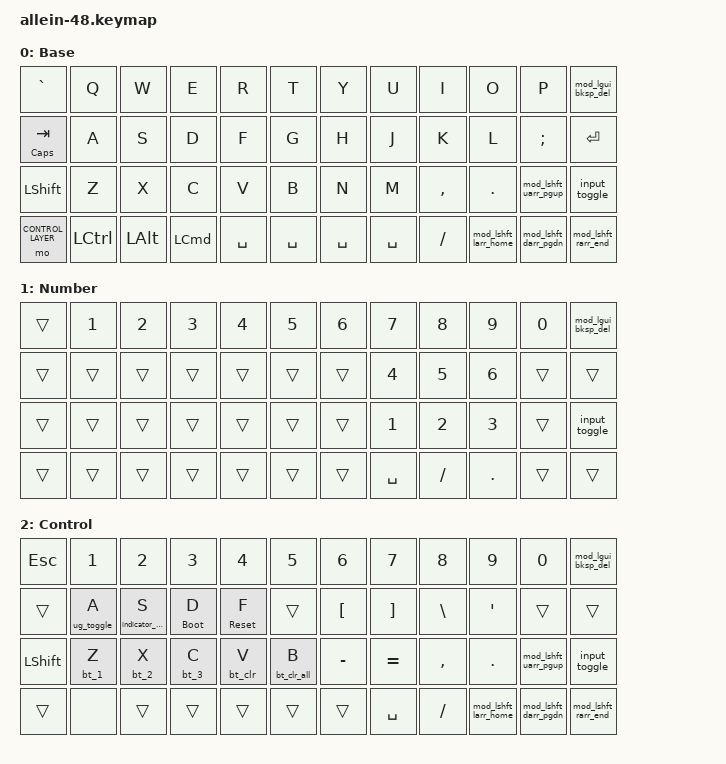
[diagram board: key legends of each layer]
/*
 * Copyright (c) 2020 The ZMK Contributors
 *
 * SPDX-License-Identifier: MIT
 */

 #include <behaviors.dtsi>
 #include <dt-bindings/zmk/keys.h>
 #include <dt-bindings/zmk/bt.h> 
 #include <dt-bindings/zmk/rgb.h>
 #include <dt-bindings/zmk/indicator.h>
#define BASE 0
#define LOWER 1
#define RAISE 2
#define DEFAULT_LAYER 0
#define NUM_LAYER 1
#define CONTROL_LAYER 2
#define MOUSE_TP 3
#define MOUSE_TP_SET 4

/*
 * Defines to enable/disable features
 *
 * These defines allow us to conditionally enable and disable parts of the keymap config.
 *
 * For example, if we decide to build the firmware without the mouse features, we can
 * disable all the config options that rely on those forks and modules without having
 * to edit the entire keymap file manually every time.
 */


 / {
       macros {
              input_toggle: input_toggle {
                  compatible = "zmk,behavior-macro";
                  #binding-cells = <0>;
                  bindings
                      =  <&macro_press &kp LEFT_CONTROL>
                      , <&macro_tap &kp SPACE>
                      , <&macro_release &kp LEFT_CONTROL>
                      ;
                      
              };
               bt_1: bt_sel_1 {
                   compatible = "zmk,behavior-macro";
                   #binding-cells = <0>;
                   bindings
                       = < &bt BT_SEL 0>
                       ;
               };
               bt_2: bt_sel_2 {
                   compatible = "zmk,behavior-macro";
                   #binding-cells = <0>;
                   bindings
                       = < &bt BT_SEL 1>
                       ;
               };
               bt_3: bt_sel_3 {
                   compatible = "zmk,behavior-macro";
                   #binding-cells = <0>;
                   bindings
                       = < &bt BT_SEL 2>
                       ;
               };
               bt_loop: bt_loop {
                   compatible = "zmk,behavior-macro";
                   #binding-cells = <0>;
                   bindings
                       = < &bt BT_NXT>
                       ;
               };
               bt_clr: bt_clr {
                   compatible = "zmk,behavior-macro";
                   #binding-cells = <0>;
                   bindings
                       = < &bt BT_CLR>
                       ;
               };
               bt_clr_all: bt_clr_all {
                   compatible = "zmk,behavior-macro";
                   #binding-cells = <0>;
                   bindings
                       = < &bt BT_CLR_ALL>
                       ;
               };
               ug_toggle: ug_toggle {
                   compatible = "zmk,behavior-macro";
                   #binding-cells = <0>;
                   bindings
                       = < &rgb_ug RGB_TOG>
                       ;
               };
               indicator_toggle: indicator_toggle {
                   compatible = "zmk,behavior-macro";
                   #binding-cells = <0>;
                   bindings
                       = < &rgb_ind RGB_IND_TOGGLE>
                       ;
               };
               mo_num: mo_num {
                  compatible = "zmk,behavior-macro";
                  #binding-cells = <0>;
                  bindings
                      = < &mo NUM_LAYER>
                      ;
              };
               to_num: to_num {
                   compatible = "zmk,behavior-macro";
                   #binding-cells = <0>;
                   bindings
                       = < &to NUM_LAYER>
                       ;
               };
               to_default: to_default {
                   compatible = "zmk,behavior-macro";
                   #binding-cells = <0>;
                   bindings
                       = < &to DEFAULT_LAYER>
                       ;
               };
               key_D: key_D {
                  compatible = "zmk,behavior-macro";
                  #binding-cells = <0>;
                  bindings
                      = < &kp D>
                      ;
              };
              key_F: key_F {
                compatible = "zmk,behavior-macro";
                #binding-cells = <0>;
                bindings
                    = < &kp F>
                    ;
            };
              key_A: key_A {
                  compatible = "zmk,behavior-macro";
                  #binding-cells = <0>;
                  bindings
                      = < &kp A>
                      ;
              };
              key_S: key_S {
                  compatible = "zmk,behavior-macro";
                  #binding-cells = <0>;
                  bindings
                      = < &kp S>
                      ;
              };
              key_Z: key_Z{
                  compatible = "zmk,behavior-macro";
                  #binding-cells = <0>;
                  bindings
                      = < &kp Z>
                      ;
              };
              key_X: key_X {
                  compatible = "zmk,behavior-macro";
                  #binding-cells = <0>;
                  bindings
                      = < &kp X>
                      ;
              };
              key_C: key_C {
                  compatible = "zmk,behavior-macro";
                  #binding-cells = <0>;
                  bindings
                      = < &kp C>
                      ;
              };
              key_V: key_V {
                  compatible = "zmk,behavior-macro";
                  #binding-cells = <0>;
                  bindings
                      = < &kp V>
                      ;
              };
              key_B: key_B {
                  compatible = "zmk,behavior-macro";
                  #binding-cells = <0>;
                  bindings
                      = < &kp B>
                      ;
              };
              key_N: key_N {
                  compatible = "zmk,behavior-macro";
                  #binding-cells = <0>;
                  bindings
                      = < &kp N>
                      ;
              };
           };
           behaviors {
               ht: hold_tap {
                   compatible = "zmk,behavior-hold-tap";
                   #binding-cells = <2>;
                   tapping-term-ms = <200>;
                   flavor = "tap-preferred";
                   bindings = <&kp>, <&kp>;
               };
               hht: hold_preferred_tap {
                  compatible = "zmk,behavior-hold-tap";
                  #binding-cells = <2>;
                  tapping-term-ms = <2000>;
                  flavor = "hold-preferred";
                  bindings = <&kp>, <&kp>;
              };
               hht_num: hht_num {
                   compatible = "zmk,behavior-hold-tap";
                   #binding-cells = <2>;
                   tapping-term-ms = <2000>;
                   flavor = "hold-preferred";
                   bindings = <&mo_num>, <&kp>;
               };
               hht_input: hht_shift_input {
                  compatible = "zmk,behavior-hold-tap";
                  #binding-cells = <2>;
                  tapping-term-ms = <2000>;
                  flavor = "hold-preferred";
                  bindings = <&kp>, <&input_toggle>;
              };
               ht_default: ht_default {
                   compatible = "zmk,behavior-hold-tap";
                   #binding-cells = <2>;
                   tapping-term-ms = <200>;
                   flavor = "tap-preferred";
                   bindings = <&to_default>, <&kp>;
               };
       
               ht_bt1: hold_tap_macro_bt1 {
                   compatible = "zmk,behavior-hold-tap";
                   #binding-cells = <2>;
                   tapping-term-ms = <2000>;
                   flavor = "tap-preferred";
                   bindings = <&bt_1>, <&key_Z>;
               };
               ht_bt2: hold_tap_macro_bt2 {
                   compatible = "zmk,behavior-hold-tap";
                   #binding-cells = <2>;
                   tapping-term-ms = <2000>;
                   flavor = "tap-preferred";
                   bindings = <&bt_2>, <&key_X>;
               };
               ht_bt3: hold_tap_macro_bt3 {
                   compatible = "zmk,behavior-hold-tap";
                   #binding-cells = <2>;
                   tapping-term-ms = <2000>;
                   flavor = "tap-preferred";
                   bindings = <&bt_3>, <&key_C>;
               };
               ht_bt_loop: hold_tap_macro_btloop {
                   compatible = "zmk,behavior-hold-tap";
                   #binding-cells = <2>;
                   tapping-term-ms = <2000>;
                   flavor = "tap-preferred";
                   bindings = <&bt_loop>, <&kp>;
               };
               ht_bt_clr: hold_tap_macro_bt_clr {
                   compatible = "zmk,behavior-hold-tap";
                   #binding-cells = <2>;
                   tapping-term-ms = <2000>;
                   flavor = "tap-preferred";
                   bindings = <&bt_clr>, <&key_V>;
               };
               ht_bt_clr_all: hold_tap_macro_bt_clr_all {
                   compatible = "zmk,behavior-hold-tap";
                   #binding-cells = <2>;
                   tapping-term-ms = <2000>;
                   flavor = "tap-preferred";
                   bindings = <&bt_clr_all>, <&key_B>;
               };
               ht_ug_tog: hold_tap_macro_ug_tog {
                   compatible = "zmk,behavior-hold-tap";
                   #binding-cells = <2>;
                   tapping-term-ms = <2000>;
                   flavor = "tap-preferred";
                   bindings = <&ug_toggle>, <&key_A>;
               };
               ht_ind_tog: hold_tap_macro_ind_tog {
                   compatible = "zmk,behavior-hold-tap";
                   #binding-cells = <2>;
                   tapping-term-ms = <200>;
                   flavor = "tap-preferred";
                   bindings = <&indicator_toggle>, <&key_S>;
               };
               ht_boot: ht_boot {
                  compatible = "zmk,behavior-hold-tap";
                  #binding-cells = <2>;
                  tapping-term-ms = <3000>;
                  flavor = "hold-preferred";
                  bindings = <&bootloader>, <&key_D>;
                };
               ht_reset: ht_reset {
                compatible = "zmk,behavior-hold-tap";
                #binding-cells = <2>;
                tapping-term-ms = <3000>;
                flavor = "hold-preferred";
                bindings = <&sys_reset>, <&key_F>;
                };
                mo_ctrl_or_tp: mo_ctrl_or_tp {
                    compatible = "zmk,behavior-mod-morph";
                    #binding-cells = <0>;
                    bindings = <&mo CONTROL_LAYER>, <&mo MOUSE_TP_SET>;
                   mods = <(MOD_LCTL)>;
                };
               semi_bracket: semi_bracket {
                   compatible = "zmk,behavior-mod-morph";
                   #binding-cells = <0>;
                   bindings = <&kp SEMI>, <&kp LEFT_BRACKET>;
                   mods = <(MOD_LCTL|MOD_LGUI)>;
               };
               quot_bracket: quot_bracket {
                   compatible = "zmk,behavior-mod-morph";
                   #binding-cells = <0>;
                   bindings = <&kp SINGLE_QUOTE>, <&kp RIGHT_BRACKET>;
                   mods = <(MOD_LCTL|MOD_LGUI)>;
               };
               td_spc_num: tap_dance_space_or_number_layer {
                  compatible = "zmk,behavior-tap-dance";
                  #binding-cells = <0>;
                  tapping-term-ms = <200>;
                  bindings = <&kp SPACE>, <&to NUM_LAYER>;
              };
              td_spc_dft: tap_dance_space_or_default_layer {
                  compatible = "zmk,behavior-tap-dance";
                  #binding-cells = <0>;
                  tapping-term-ms = <200>;
                  bindings = <&kp SPACE>, <&to DEFAULT_LAYER>;
              };
              td_rarr_end:td_rarr_end {
                  compatible = "zmk,behavior-tap-dance";
                  #binding-cells = <0>;
                  tapping-term-ms = <150>;
                  bindings = <&kp RIGHT_ARROW>, <&kp END>;
              };
              td_larr_home:td_larr_home {
                  compatible = "zmk,behavior-tap-dance";
                  #binding-cells = <0>;
                  tapping-term-ms = <150>;
                  bindings = <&kp LEFT_ARROW>, <&kp HOME>;
              };
              mod_rgui_Q_1: mod_rgui_Q_1 {
                  compatible = "zmk,behavior-mod-morph";
                  #binding-cells = <0>;
                  bindings = <&kp Q>, <&kp N1>;
                  mods = <(MOD_RGUI)>;
              };
              mod_rgui_W_2: mod_rgui_W_2 {
                  compatible = "zmk,behavior-mod-morph";
                  #binding-cells = <0>;
                  bindings = <&kp W>, <&kp N2>;
                  mods = <(MOD_RGUI)>;
              };
              mod_rgui_E_3: mod_rgui_E_3 {
                  compatible = "zmk,behavior-mod-morph";
                  #binding-cells = <0>;
                  bindings = <&kp E>, <&kp N3>;
                  mods = <(MOD_RGUI)>;
              };
              mod_rgui_R_4: mod_rgui_R_4 {
                  compatible = "zmk,behavior-mod-morph";
                  #binding-cells = <0>;
                  bindings = <&kp R>, <&kp N4>;
                  mods = <(MOD_RGUI)>;
              };   
              mod_rgui_T_5: mod_rgui_T_5 {
                  compatible = "zmk,behavior-mod-morph";
                  #binding-cells = <0>;
                  bindings = <&kp T>, <&kp N5>;
                  mods = <(MOD_RGUI)>;
              };  
              mod_rgui_Y_6: mod_rgui_Y_6 {
                  compatible = "zmk,behavior-mod-morph";
                  #binding-cells = <0>;
                  bindings = <&kp Y>, <&kp N6>;
                  mods = <(MOD_RGUI)>;
              }; 
              mod_rgui_U_7: mod_rgui_U_7 {
                  compatible = "zmk,behavior-mod-morph";
                  #binding-cells = <0>;
                  bindings = <&kp U>, <&kp N7>;
                  mods = <(MOD_RGUI)>;
              };    
              mod_rgui_I_8: mod_rgui_I_8 {
                  compatible = "zmk,behavior-mod-morph";
                  #binding-cells = <0>;
                  bindings = <&kp I>, <&kp N8>;
                  mods = <(MOD_RGUI)>;
              };   
              mod_rgui_O_9: mod_rgui_O_9 {
                  compatible = "zmk,behavior-mod-morph";
                  #binding-cells = <0>;
                  bindings = <&kp O>, <&kp N9>;
                  mods = <(MOD_RGUI)>;
              };   
              mod_rgui_P_0: mod_rgui_P_0 {
                  compatible = "zmk,behavior-mod-morph";
                  #binding-cells = <0>;
                  bindings = <&kp P>, <&kp N0>;
                  mods = <(MOD_RGUI)>;
              };   
              mod_rgui_M_1: mod_rgui_M_1 {
                  compatible = "zmk,behavior-mod-morph";
                  #binding-cells = <0>;
                  bindings = <&kp M>, <&kp N1>;
                  mods = <(MOD_RGUI)>;
              };
              mod_rgui_COMMA_2: mod_rgui_COMMA_2 {
                  compatible = "zmk,behavior-mod-morph";
                  #binding-cells = <0>;
                  bindings = <&kp COMMA>, <&kp N2>;
                  mods = <(MOD_RGUI)>;
              };
              mod_rgui_DOT_3: mod_rgui_DOT_3 {
                  compatible = "zmk,behavior-mod-morph";
                  #binding-cells = <0>;
                  bindings = <&kp DOT>, <&kp N3>;
                  mods = <(MOD_RGUI)>;
              };
              mod_rgui_J_4: mod_rgui_J_4 {
                  compatible = "zmk,behavior-mod-morph";
                  #binding-cells = <0>;
                  bindings = <&kp J>, <&kp N4>;
                  mods = <(MOD_RGUI)>;
              };   
              mod_rgui_K_5: mod_rgui_K_5 {
                  compatible = "zmk,behavior-mod-morph";
                  #binding-cells = <0>;
                  bindings = <&kp K>, <&kp N5>;
                  mods = <(MOD_RGUI)>;
              };  
              mod_rgui_L_6: mod_rgui_L_6 {
                  compatible = "zmk,behavior-mod-morph";
                  #binding-cells = <0>;
                  bindings = <&kp L>, <&kp N6>;
                  mods = <(MOD_RGUI)>;
              }; 
              mod_lshft_larr_home: mod_lshft_larr_home {
                  compatible = "zmk,behavior-mod-morph";
                  #binding-cells = <0>;
                  bindings = <&kp LEFT_ARROW>, <&kp HOME>;
                  mods = <(MOD_LSFT)>;
              };
              mod_lshft_rarr_end: mod_lshft_rarr_end {
                  compatible = "zmk,behavior-mod-morph";
                  #binding-cells = <0>;
                  bindings = <&kp RIGHT_ARROW>, <&kp END>;
                  mods = <(MOD_LSFT)>;
              }; 
              mod_lgui_bksp_del: mod_lshft_bksp_del {
                  compatible = "zmk,behavior-mod-morph";
                  #binding-cells = <0>;
                  bindings = <&kp BACKSPACE>, <&kp DEL>;
                  mods = <(MOD_LGUI)>;
              }; 
              mod_lshft_uarr_pgup: mod_lshft_uarr_pgup {
                  compatible = "zmk,behavior-mod-morph";
                  #binding-cells = <0>;
                  bindings = <&kp UP_ARROW>, <&kp PG_UP>;
                  mods = <(MOD_LSFT)>;
              };
              mod_lshft_darr_pgdn: mod_lshft_darr_pgdn {
                  compatible = "zmk,behavior-mod-morph";
                  #binding-cells = <0>;
                  bindings = <&kp DOWN_ARROW>, <&kp PG_DN>;
                  mods = <(MOD_LSFT)>;
              }; 
           };
         keymap {
                 compatible = "zmk,keymap";
                 default_layer {
                    display-name = "Base";
                    bindings = <
                    // ╭────────────────────────┬────────────────────────┬────────────────────────┬────────────────────────┬────────────────────────┬────────────────────────┬────────────────────────┬────────────────────────┬────────────────────────┬────────────────────────┬────────────────────────┬────────────────────────╮
                                &kp GRAV                   &kp Q                   &kp W                   &kp E                    &kp R                   &kp T                   &kp Y                   &kp U                   &kp I                   &kp O                     &kp P                   &mod_lgui_bksp_del    
                    // ├────────────────────────┼────────────────────────┼────────────────────────┼────────────────────────┼────────────────────────┼────────────────────────┼────────────────────────┼────────────────────────┼────────────────────────┼────────────────────────┼────────────────────────┼────────────────────────┤
                              &ht CAPS TAB                 &kp A                   &kp S                   &kp D                    &kp F                   &kp G                   &kp H                   &kp J                   &kp K                   &kp L                     &kp  SEMI                     &kp ENTER
                    // ├────────────────────────┼────────────────────────┼────────────────────────┼────────────────────────┼────────────────────────┼────────────────────────┼────────────────────────┼────────────────────────┼────────────────────────┼────────────────────────┼────────────────────────┼────────────────────────┤
                                &kp LSHFT                  &kp Z                   &kp X                   &kp C                    &kp V                   &kp B                   &kp N                   &kp M                   &kp COMMA               &kp DOT                  &mod_lshft_uarr_pgup         &input_toggle
                    // ├────────────────────────┼────────────────────────┼────────────────────────┼────────────────────────┼────────────────────────┴────────────────────────┼────────────────────────┼────────────────────────┼────────────────────────┼────────────────────────┼────────────────────────┼────────────────────────┤
                            &mo CONTROL_LAYER       &kp LEFT_CONTROL            &kp LEFT_ALT            &kp LEFT_COMMAND            &kp SPACE               &kp SPACE               &kp SPACE               &kp SPACE               &kp SLASH               &mod_lshft_larr_home     &mod_lshft_darr_pgdn     &mod_lshft_rarr_end
                    // ╰────────────────────────┴────────────────────────┴────────────────────────┴────────────────────────┴─────────────-────────────-────────────-─────────┴────────────────────────-────────────────────────┴────────────────────────┴────────────────────────┴────────────────────────┴────────────────────────╯
                    >;
                };
                number_layer {
                   display-name = "Number";
                   bindings = <
                   // ╭────────────────────────┬────────────────────────┬────────────────────────┬────────────────────────┬────────────────────────┬────────────────────────┬────────────────────────┬────────────────────────┬────────────────────────┬────────────────────────┬────────────────────────┬────────────────────────╮
                                &trans                  &kp N1                     &kp N2                  &kp N3                   &kp N4                 &kp N5                   &kp N6                  &kp N7                  &kp N8                  &kp N9                    &kp N0                  &mod_lgui_bksp_del
                   // ├────────────────────────┼────────────────────────┼────────────────────────┼────────────────────────┼────────────────────────┼────────────────────────┼────────────────────────┼────────────────────────┼────────────────────────┼────────────────────────┼────────────────────────┼────────────────────────┤
                                &trans                  &trans                     &trans                  &trans                   &trans                 &trans                   &trans                  &kp N4                  &kp N5                  &kp N6                    &trans                        &trans                 
                   // ├────────────────────────┼────────────────────────┼────────────────────────┼────────────────────────┼────────────────────────┼────────────────────────┼────────────────────────┼────────────────────────┼────────────────────────┼────────────────────────┼────────────────────────┼────────────────────────┤
                                &trans                  &trans                     &trans                  &trans                   &trans                 &trans                   &trans                  &kp N1                  &kp N2                  &kp N3                    &trans                    &input_toggle                
                   // ├────────────────────────┼────────────────────────┼────────────────────────┼────────────────────────┼────────────────────────┴────────────────────────┼────────────────────────┴────────────────────────┼────────────────────────┼────────────────────────┼────────────────────────┼────────────────────────┤
                                &trans                  &trans                     &trans                  &trans                   &trans                 &trans                   &trans                  &kp SPACE               &kp SLASH               &kp DOT                   &trans                        &trans
                   // ╰────────────────────────┴────────────────────────┴────────────────────────┴────────────────────────┴─────────────-────────────-────────────-─────────┴────────────────────────-────────────────────────┴────────────────────────┴────────────────────────┴────────────────────────┴────────────────────────╯
                   >;
               };
                control_layer {
                    display-name = "Control";
                    bindings = <
                    // ╭────────────────────────┬────────────────────────┬────────────────────────┬────────────────────────┬────────────────────────┬────────────────────────┬────────────────────────┬────────────────────────┬────────────────────────┬────────────────────────┬────────────────────────┬────────────────────────╮
                                &kp ESC                 &kp N1                      &kp N2                  &kp  N3                 &kp N4                  &kp N5                   &kp N6                 &kp N7                   &kp N8                  &kp N9                    &kp N0                &mod_lgui_bksp_del  
                    // ├────────────────────────┼────────────────────────┼────────────────────────┼────────────────────────┼────────────────────────┼────────────────────────┼────────────────────────┼────────────────────────┼────────────────────────┼────────────────────────┼────────────────────────┼────────────────────────┤
                                &trans                  &ht_ug_tog 0 A         &ht_ind_tog 0 S         &ht_boot 0 D               &ht_reset 0 F             &trans               &kp LEFT_BRACKET         &kp RIGHT_BRACKET         &kp BACKSLASH           &kp SINGLE_QUOTE           &trans                       &trans
                    // ├────────────────────────┼────────────────────────┼────────────────────────┼────────────────────────┼────────────────────────┼────────────────────────┼────────────────────────┼────────────────────────┼────────────────────────┼────────────────────────┼────────────────────────┼────────────────────────┤
                                &kp LSHFT               &ht_bt1  0 Z           &ht_bt2 0 X             &ht_bt3 0 C              &ht_bt_clr    0 V       &ht_bt_clr_all 0 B          &kp MINUS              &kp EQUAL                  &kp COMMA               &kp DOT             &mod_lshft_uarr_pgup        &input_toggle
                    // ├────────────────────────┼────────────────────────┼────────────────────────┼────────────────────────┼────────────────────────┴────────────────────────┼────────────────────────┴────────────────────────┼────────────────────────┼────────────────────────┼────────────────────────┼────────────────────────┤
                                &trans                  &none                   &trans                  &trans                      &trans                   &trans                    &trans                &kp SPACE                 &kp SLASH           &mod_lshft_larr_home      &mod_lshft_darr_pgdn     &mod_lshft_rarr_end
                    // ╰────────────────────────┴────────────────────────┴────────────────────────┴────────────────────────┴─────────────-────────────-────────────-─────────┴────────────────────────-────────────────────────┴────────────────────────┴────────────────────────┴────────────────────────┴────────────────────────╯
                    >;
                };
                
         };
 };
 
